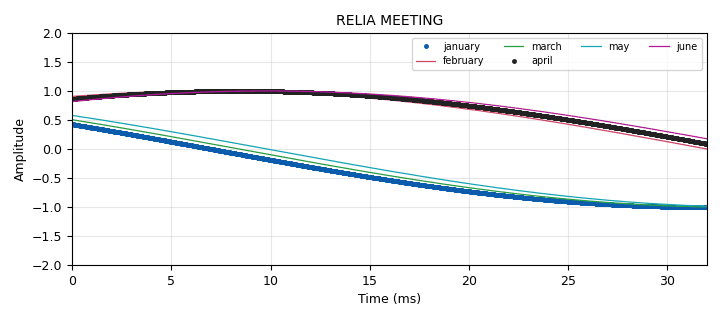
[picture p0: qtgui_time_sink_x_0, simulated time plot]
options:
  parameters:
    author: marcos
    generate_options: qt_gui
    id: default
    output_language: python
    title: Not titled yet
  states: {}

blocks:
- name: samp_rate
  id: variable
  parameters:
    value: '32000'
  states: {}
- name: analog_noise_source_x_0
  id: analog_noise_source_x
  parameters:
    amp: '0'
    noise_type: analog.GR_GAUSSIAN
    seed: '0'
    type: complex
  states: {}
- name: analog_sig_source_x_0
  id: analog_sig_source_x
  parameters:
    amp: '1'
    freq: '10'
    offset: '0'
    phase: '0'
    samp_rate: samp_rate
    type: complex
    waveform: analog.GR_COS_WAVE
  states: {}
- name: blocks_add_xx_0
  id: blocks_add_xx
  parameters:
    type: complex
  states: {}
- name: blocks_delay_0
  id: blocks_delay
  parameters:
    delay: '45'
    type: complex
  states: {}
- name: blocks_delay_0_0
  id: blocks_delay
  parameters:
    delay: '90'
    type: complex
  states: {}
- name: blocks_throttle_0
  id: blocks_throttle
  parameters:
    samples_per_second: samp_rate
    type: complex
  states: {}
- name: qtgui_time_sink_x_0
  id: qtgui_time_sink_x
  parameters:
    color1: green
    color2: dark blue
    color3: blue
    color4: red
    label1: january
    label2: february
    label3: march
    label4: april
    label5: may
    label6: june
    name: RELIA MEETING
    nconnections: '3'
    size: '1024'
    srate: samp_rate
    style1: '0'
    style2: '2'
    style4: '0'
    type: complex
    width1: '4'
    width2: '2'
    ymax: '2'
    ymin: '-2'
    yunit: '"sdasd"'
  states: {}

connections:
- [analog_noise_source_x_0, '0', blocks_add_xx_0, '1']
- [analog_sig_source_x_0, '0', blocks_add_xx_0, '0']
- [blocks_add_xx_0, '0', blocks_throttle_0, '0']
- [blocks_delay_0, '0', qtgui_time_sink_x_0, '1']
- [blocks_delay_0_0, '0', qtgui_time_sink_x_0, '2']
- [blocks_throttle_0, '0', blocks_delay_0, '0']
- [blocks_throttle_0, '0', blocks_delay_0_0, '0']
- [blocks_throttle_0, '0', qtgui_time_sink_x_0, '0']

metadata:
  file_format: 1
  grc_version: 3.10.4.0
